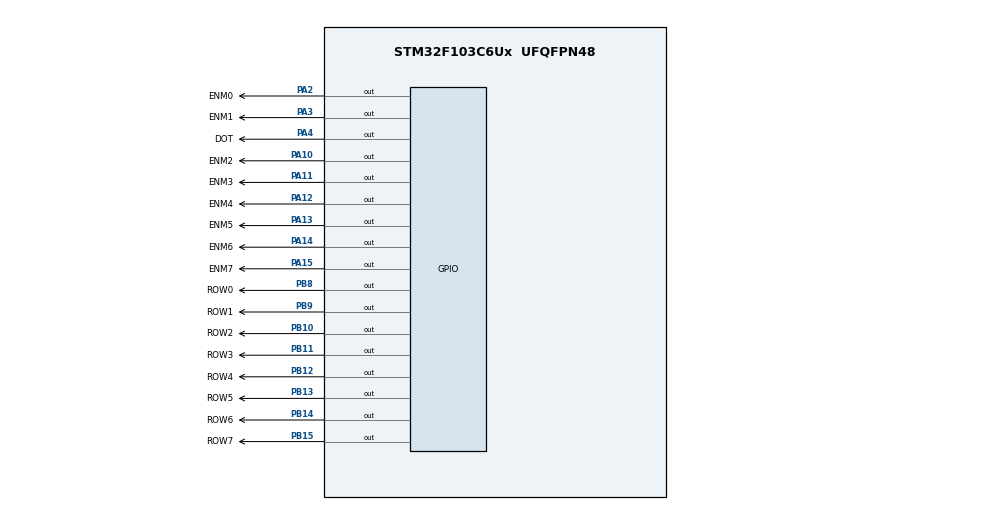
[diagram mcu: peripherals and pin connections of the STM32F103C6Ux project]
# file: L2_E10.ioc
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Mcu.Family=STM32F1
Mcu.Name=STM32F103C6Ux
Mcu.Package=UFQFPN48
NVIC.PriorityGroup=NVIC_PRIORITYGROUP_4
NVIC.TIM2_IRQn=true\:0\:0\:false\:false\:true\:true\:true\:true
PA10.GPIO_Label=ENM2
PA10.Signal=GPIO_Output
PA11.GPIO_Label=ENM3
PA11.Signal=GPIO_Output
PA12.GPIO_Label=ENM4
PA12.Signal=GPIO_Output
PA13.GPIO_Label=ENM5
PA13.Signal=GPIO_Output
PA14.GPIO_Label=ENM6
PA14.Signal=GPIO_Output
PA15.GPIO_Label=ENM7
PA15.Signal=GPIO_Output
PA2.GPIO_Label=ENM0
PA2.Signal=GPIO_Output
PA3.GPIO_Label=ENM1
PA3.Signal=GPIO_Output
PA4.GPIO_Label=DOT
PA4.Signal=GPIO_Output
PB10.GPIO_Label=ROW2
PB10.Signal=GPIO_Output
PB11.GPIO_Label=ROW3
PB11.Signal=GPIO_Output
PB12.GPIO_Label=ROW4
PB12.Signal=GPIO_Output
PB13.GPIO_Label=ROW5
PB13.Signal=GPIO_Output
PB14.GPIO_Label=ROW6
PB14.Signal=GPIO_Output
PB15.GPIO_Label=ROW7
PB15.Signal=GPIO_Output
PB8.GPIO_Label=ROW0
PB8.Signal=GPIO_Output
PB9.GPIO_Label=ROW1
PB9.Signal=GPIO_Output
ProjectManager.HeapSize=0x200
ProjectManager.StackSize=0x400
ProjectManager.TargetToolchain=STM32CubeIDE
RCC.APB1Freq_Value=8000000
RCC.APB2Freq_Value=8000000
TIM2.Period=9
TIM2.Prescaler=7999
VP_SYS_VS_ND.Mode=No_Debug
VP_TIM2_VS_ClockSourceINT.Mode=Internal
board=custom

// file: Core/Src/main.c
/* USER CODE BEGIN Header */
/**
  ******************************************************************************
  * @file           : main.c
  * @brief          : Main program body
  ******************************************************************************
  * @attention
  *
  * Copyright (c) 2024 STMicroelectronics.
  * All rights reserved.
  *
  * This software is licensed under terms that can be found in the LICENSE file
  * in the root directory of this software component.
  * If no LICENSE file comes with this software, it is provided AS-IS.
  *
  ******************************************************************************
  */
/* USER CODE END Header */
#include "main.h"

TIM_HandleTypeDef htim2;

void SystemClock_Config(void);
static void MX_GPIO_Init(void);
static void MX_TIM2_Init(void);
/* USER CODE BEGIN PFP */
#define TICK 10
int timer_flag[10];
int timer_counter[10];
void set_timer(int index, int counter)
{
	timer_flag[index] = 0;
	timer_counter[index] = counter/TICK;
}
void timer_run()
{
	for (int i = 0; i < 10; i++)
	{
		if (timer_counter[i] >= 0)
		{
			timer_counter[i]--;
			if (timer_counter[i] <= 0)
			{
				timer_flag[i] = 1;
			}
		}
	}
}
void timer_isr()
{
	timer_run();
}

const int MAX_LED_MATRIX = 8;
int index_led_matrix = 0;
uint8_t matrix_buffer [8] = {0x01 , 0x02 , 0x03 , 0x04 , 0x05 , 0x06 , 0x07 , 0x08 };

void movingchar(int index)
{
    HAL_GPIO_WritePin(GPIOA, GPIO_PIN_2, SET);
    HAL_GPIO_WritePin(GPIOA, GPIO_PIN_3, SET);
    HAL_GPIO_WritePin(GPIOA, GPIO_PIN_10, SET);
    HAL_GPIO_WritePin(GPIOA, GPIO_PIN_11, SET);
    HAL_GPIO_WritePin(GPIOA, GPIO_PIN_12, SET);
    HAL_GPIO_WritePin(GPIOA, GPIO_PIN_13, SET);
    HAL_GPIO_WritePin(GPIOA, GPIO_PIN_14, SET);
    HAL_GPIO_WritePin(GPIOA, GPIO_PIN_15, SET);
    switch (index)
    {
    	case 0:
    		HAL_GPIO_WritePin(GPIOA, GPIO_PIN_2, RESET);
    		break;
		case 1:
			HAL_GPIO_WritePin(GPIOA, GPIO_PIN_3, RESET);
			break;
		case 2:
			HAL_GPIO_WritePin(GPIOA, GPIO_PIN_10, RESET);
			break;
		case 3:
			HAL_GPIO_WritePin(GPIOA, GPIO_PIN_11, RESET);
			break;
		case 4:
			HAL_GPIO_WritePin(GPIOA, GPIO_PIN_12, RESET);
			break;
		case 5:
			HAL_GPIO_WritePin(GPIOA, GPIO_PIN_13, RESET);
		    break ;
		case 6:
			HAL_GPIO_WritePin(GPIOA, GPIO_PIN_14, RESET);
		    break ;
		case 7:
			HAL_GPIO_WritePin(GPIOA, GPIO_PIN_15, RESET);
		    break ;
    	default:
    		break;
    }
}

void updateLEDMatrix (int index )
{
    HAL_GPIO_WritePin(GPIOB, GPIO_PIN_8, SET);
    HAL_GPIO_WritePin(GPIOB, GPIO_PIN_9, SET);
    HAL_GPIO_WritePin(GPIOB, GPIO_PIN_10, SET);
    HAL_GPIO_WritePin(GPIOB, GPIO_PIN_11, SET);
    HAL_GPIO_WritePin(GPIOB, GPIO_PIN_12, SET);
    HAL_GPIO_WritePin(GPIOB, GPIO_PIN_13, SET);
    HAL_GPIO_WritePin(GPIOB, GPIO_PIN_14, SET);
    HAL_GPIO_WritePin(GPIOB, GPIO_PIN_15, SET);

	switch (index)
	{
		case 1:
			HAL_GPIO_WritePin(GPIOB, GPIO_PIN_10, RESET);
			HAL_GPIO_WritePin(GPIOB, GPIO_PIN_11, RESET);
			HAL_GPIO_WritePin(GPIOB, GPIO_PIN_12, RESET);
			HAL_GPIO_WritePin(GPIOB, GPIO_PIN_13, RESET);
			HAL_GPIO_WritePin(GPIOB, GPIO_PIN_14, RESET);
			HAL_GPIO_WritePin(GPIOB, GPIO_PIN_15, RESET);
			break ;
		case 2:

		    HAL_GPIO_WritePin(GPIOB, GPIO_PIN_9, RESET);
		    HAL_GPIO_WritePin(GPIOB, GPIO_PIN_10, RESET);
		    HAL_GPIO_WritePin(GPIOB, GPIO_PIN_11, RESET);
		    HAL_GPIO_WritePin(GPIOB, GPIO_PIN_12, RESET);
		    HAL_GPIO_WritePin(GPIOB, GPIO_PIN_13, RESET);
		    HAL_GPIO_WritePin(GPIOB, GPIO_PIN_14, RESET);
		    HAL_GPIO_WritePin(GPIOB, GPIO_PIN_15, RESET);
			break ;
		case 3:

		    HAL_GPIO_WritePin(GPIOB, GPIO_PIN_8, RESET);
		    HAL_GPIO_WritePin(GPIOB, GPIO_PIN_9, RESET);
		    HAL_GPIO_WritePin(GPIOB, GPIO_PIN_12, RESET);
		    HAL_GPIO_WritePin(GPIOB, GPIO_PIN_13, RESET);
			break ;
		case 4:

		    HAL_GPIO_WritePin(GPIOB, GPIO_PIN_8, RESET);
		    HAL_GPIO_WritePin(GPIOB, GPIO_PIN_9, RESET);
		    HAL_GPIO_WritePin(GPIOB, GPIO_PIN_12, RESET);
		    HAL_GPIO_WritePin(GPIOB, GPIO_PIN_13, RESET);
			break ;
		case 5:

		    HAL_GPIO_WritePin(GPIOB, GPIO_PIN_9, RESET);
		    HAL_GPIO_WritePin(GPIOB, GPIO_PIN_10, RESET);
		    HAL_GPIO_WritePin(GPIOB, GPIO_PIN_11, RESET);
		    HAL_GPIO_WritePin(GPIOB, GPIO_PIN_12, RESET);
		    HAL_GPIO_WritePin(GPIOB, GPIO_PIN_13, RESET);
		    HAL_GPIO_WritePin(GPIOB, GPIO_PIN_14, RESET);
		    HAL_GPIO_WritePin(GPIOB, GPIO_PIN_15, RESET);
		    break ;
		case 6:

			HAL_GPIO_WritePin(GPIOB, GPIO_PIN_10, RESET);
			HAL_GPIO_WritePin(GPIOB, GPIO_PIN_11, RESET);
			HAL_GPIO_WritePin(GPIOB, GPIO_PIN_12, RESET);
			HAL_GPIO_WritePin(GPIOB, GPIO_PIN_13, RESET);
			HAL_GPIO_WritePin(GPIOB, GPIO_PIN_14, RESET);
			HAL_GPIO_WritePin(GPIOB, GPIO_PIN_15, RESET);
		    break ;
		default :
			break ;
	}
}
/* USER CODE END PFP */

int main(void)
{

  /* MCU Configuration--------------------------------------------------------*/

  /* Reset of all peripherals, Initializes the Flash interface and the Systick. */
  HAL_Init();

  /* Configure the system clock */
  SystemClock_Config();

  /* Initialize all configured peripherals */
  MX_GPIO_Init();
  MX_TIM2_Init();
  /* USER CODE BEGIN 2 */
  HAL_TIM_Base_Start_IT (& htim2 ) ;
  /* USER CODE END 2 */

  /* Infinite loop */
  /* USER CODE BEGIN WHILE */
  set_timer(0, 1);
  set_timer(1, 2);
  int index = 1;
  int index1 = 0;
  while (1)
  {
	  if(timer_flag[0] == 1)
	  {
		  updateLEDMatrix(index++);
		  if (index > 6) index = 1;
		  set_timer(0, 500);
	  }
	  if(timer_flag[1] == 1)
	  {
		  movingchar(index1++);
		  if (index1 > 7) index1 = 0;
		  set_timer(1, 500);
	  }
    /* USER CODE END WHILE */

  }
}

void SystemClock_Config(void)
{
  RCC_OscInitTypeDef RCC_OscInitStruct = {0};
  RCC_ClkInitTypeDef RCC_ClkInitStruct = {0};

  /** Initializes the RCC Oscillators according to the specified parameters
  * in the RCC_OscInitTypeDef structure.
  */
  RCC_OscInitStruct.OscillatorType = RCC_OSCILLATORTYPE_HSI;
  RCC_OscInitStruct.HSIState = RCC_HSI_ON;
  RCC_OscInitStruct.HSICalibrationValue = RCC_HSICALIBRATION_DEFAULT;
  RCC_OscInitStruct.PLL.PLLState = RCC_PLL_NONE;
  if (HAL_RCC_OscConfig(&RCC_OscInitStruct) != HAL_OK)
  {
    Error_Handler();
  }

  /** Initializes the CPU, AHB and APB buses clocks
  */
  RCC_ClkInitStruct.ClockType = RCC_CLOCKTYPE_HCLK|RCC_CLOCKTYPE_SYSCLK
                              |RCC_CLOCKTYPE_PCLK1|RCC_CLOCKTYPE_PCLK2;
  RCC_ClkInitStruct.SYSCLKSource = RCC_SYSCLKSOURCE_HSI;
  RCC_ClkInitStruct.AHBCLKDivider = RCC_SYSCLK_DIV1;
  RCC_ClkInitStruct.APB1CLKDivider = RCC_HCLK_DIV1;
  RCC_ClkInitStruct.APB2CLKDivider = RCC_HCLK_DIV1;

  if (HAL_RCC_ClockConfig(&RCC_ClkInitStruct, FLASH_LATENCY_0) != HAL_OK)
  {
    Error_Handler();
  }
}

static void MX_TIM2_Init(void)
{

  TIM_ClockConfigTypeDef sClockSourceConfig = {0};
  TIM_MasterConfigTypeDef sMasterConfig = {0};

  htim2.Instance = TIM2;
  htim2.Init.Prescaler = 7999;
  htim2.Init.CounterMode = TIM_COUNTERMODE_UP;
  htim2.Init.Period = 9;
  htim2.Init.ClockDivision = TIM_CLOCKDIVISION_DIV1;
  htim2.Init.AutoReloadPreload = TIM_AUTORELOAD_PRELOAD_DISABLE;
  if (HAL_TIM_Base_Init(&htim2) != HAL_OK)
  {
    Error_Handler();
  }
  sClockSourceConfig.ClockSource = TIM_CLOCKSOURCE_INTERNAL;
  if (HAL_TIM_ConfigClockSource(&htim2, &sClockSourceConfig) != HAL_OK)
  {
    Error_Handler();
  }
  sMasterConfig.MasterOutputTrigger = TIM_TRGO_RESET;
  sMasterConfig.MasterSlaveMode = TIM_MASTERSLAVEMODE_DISABLE;
  if (HAL_TIMEx_MasterConfigSynchronization(&htim2, &sMasterConfig) != HAL_OK)
  {
    Error_Handler();
  }

}

static void MX_GPIO_Init(void)
{
  GPIO_InitTypeDef GPIO_InitStruct = {0};

  /* GPIO Ports Clock Enable */
  __HAL_RCC_GPIOA_CLK_ENABLE();
  __HAL_RCC_GPIOB_CLK_ENABLE();

  /*Configure GPIO pin Output Level */
  HAL_GPIO_WritePin(GPIOA, ENM0_Pin|ENM1_Pin|DOT_Pin|ENM2_Pin
                          |ENM3_Pin|ENM4_Pin|ENM5_Pin|ENM6_Pin
                          |ENM7_Pin, GPIO_PIN_RESET);

  /*Configure GPIO pin Output Level */
  HAL_GPIO_WritePin(GPIOB, ROW2_Pin|ROW3_Pin|ROW4_Pin|ROW5_Pin
                          |ROW6_Pin|ROW7_Pin|ROW0_Pin|ROW1_Pin, GPIO_PIN_RESET);

  /*Configure GPIO pins : ENM0_Pin ENM1_Pin DOT_Pin ENM2_Pin
                           ENM3_Pin ENM4_Pin ENM5_Pin ENM6_Pin
                           ENM7_Pin */
  GPIO_InitStruct.Pin = ENM0_Pin|ENM1_Pin|DOT_Pin|ENM2_Pin
                          |ENM3_Pin|ENM4_Pin|ENM5_Pin|ENM6_Pin
                          |ENM7_Pin;
  GPIO_InitStruct.Mode = GPIO_MODE_OUTPUT_PP;
  GPIO_InitStruct.Pull = GPIO_NOPULL;
  GPIO_InitStruct.Speed = GPIO_SPEED_FREQ_LOW;
  HAL_GPIO_Init(GPIOA, &GPIO_InitStruct);

  /*Configure GPIO pins : ROW2_Pin ROW3_Pin ROW4_Pin ROW5_Pin
                           ROW6_Pin ROW7_Pin ROW0_Pin ROW1_Pin */
  GPIO_InitStruct.Pin = ROW2_Pin|ROW3_Pin|ROW4_Pin|ROW5_Pin
                          |ROW6_Pin|ROW7_Pin|ROW0_Pin|ROW1_Pin;
  GPIO_InitStruct.Mode = GPIO_MODE_OUTPUT_PP;
  GPIO_InitStruct.Pull = GPIO_NOPULL;
  GPIO_InitStruct.Speed = GPIO_SPEED_FREQ_LOW;
  HAL_GPIO_Init(GPIOB, &GPIO_InitStruct);

}

/* USER CODE BEGIN 4 */
void HAL_TIM_PeriodElapsedCallback ( TIM_HandleTypeDef * htim )
{
	timer_run();
}
/* USER CODE END 4 */

void Error_Handler(void)
{
  __disable_irq();
  while (1)
  {
  }
}
